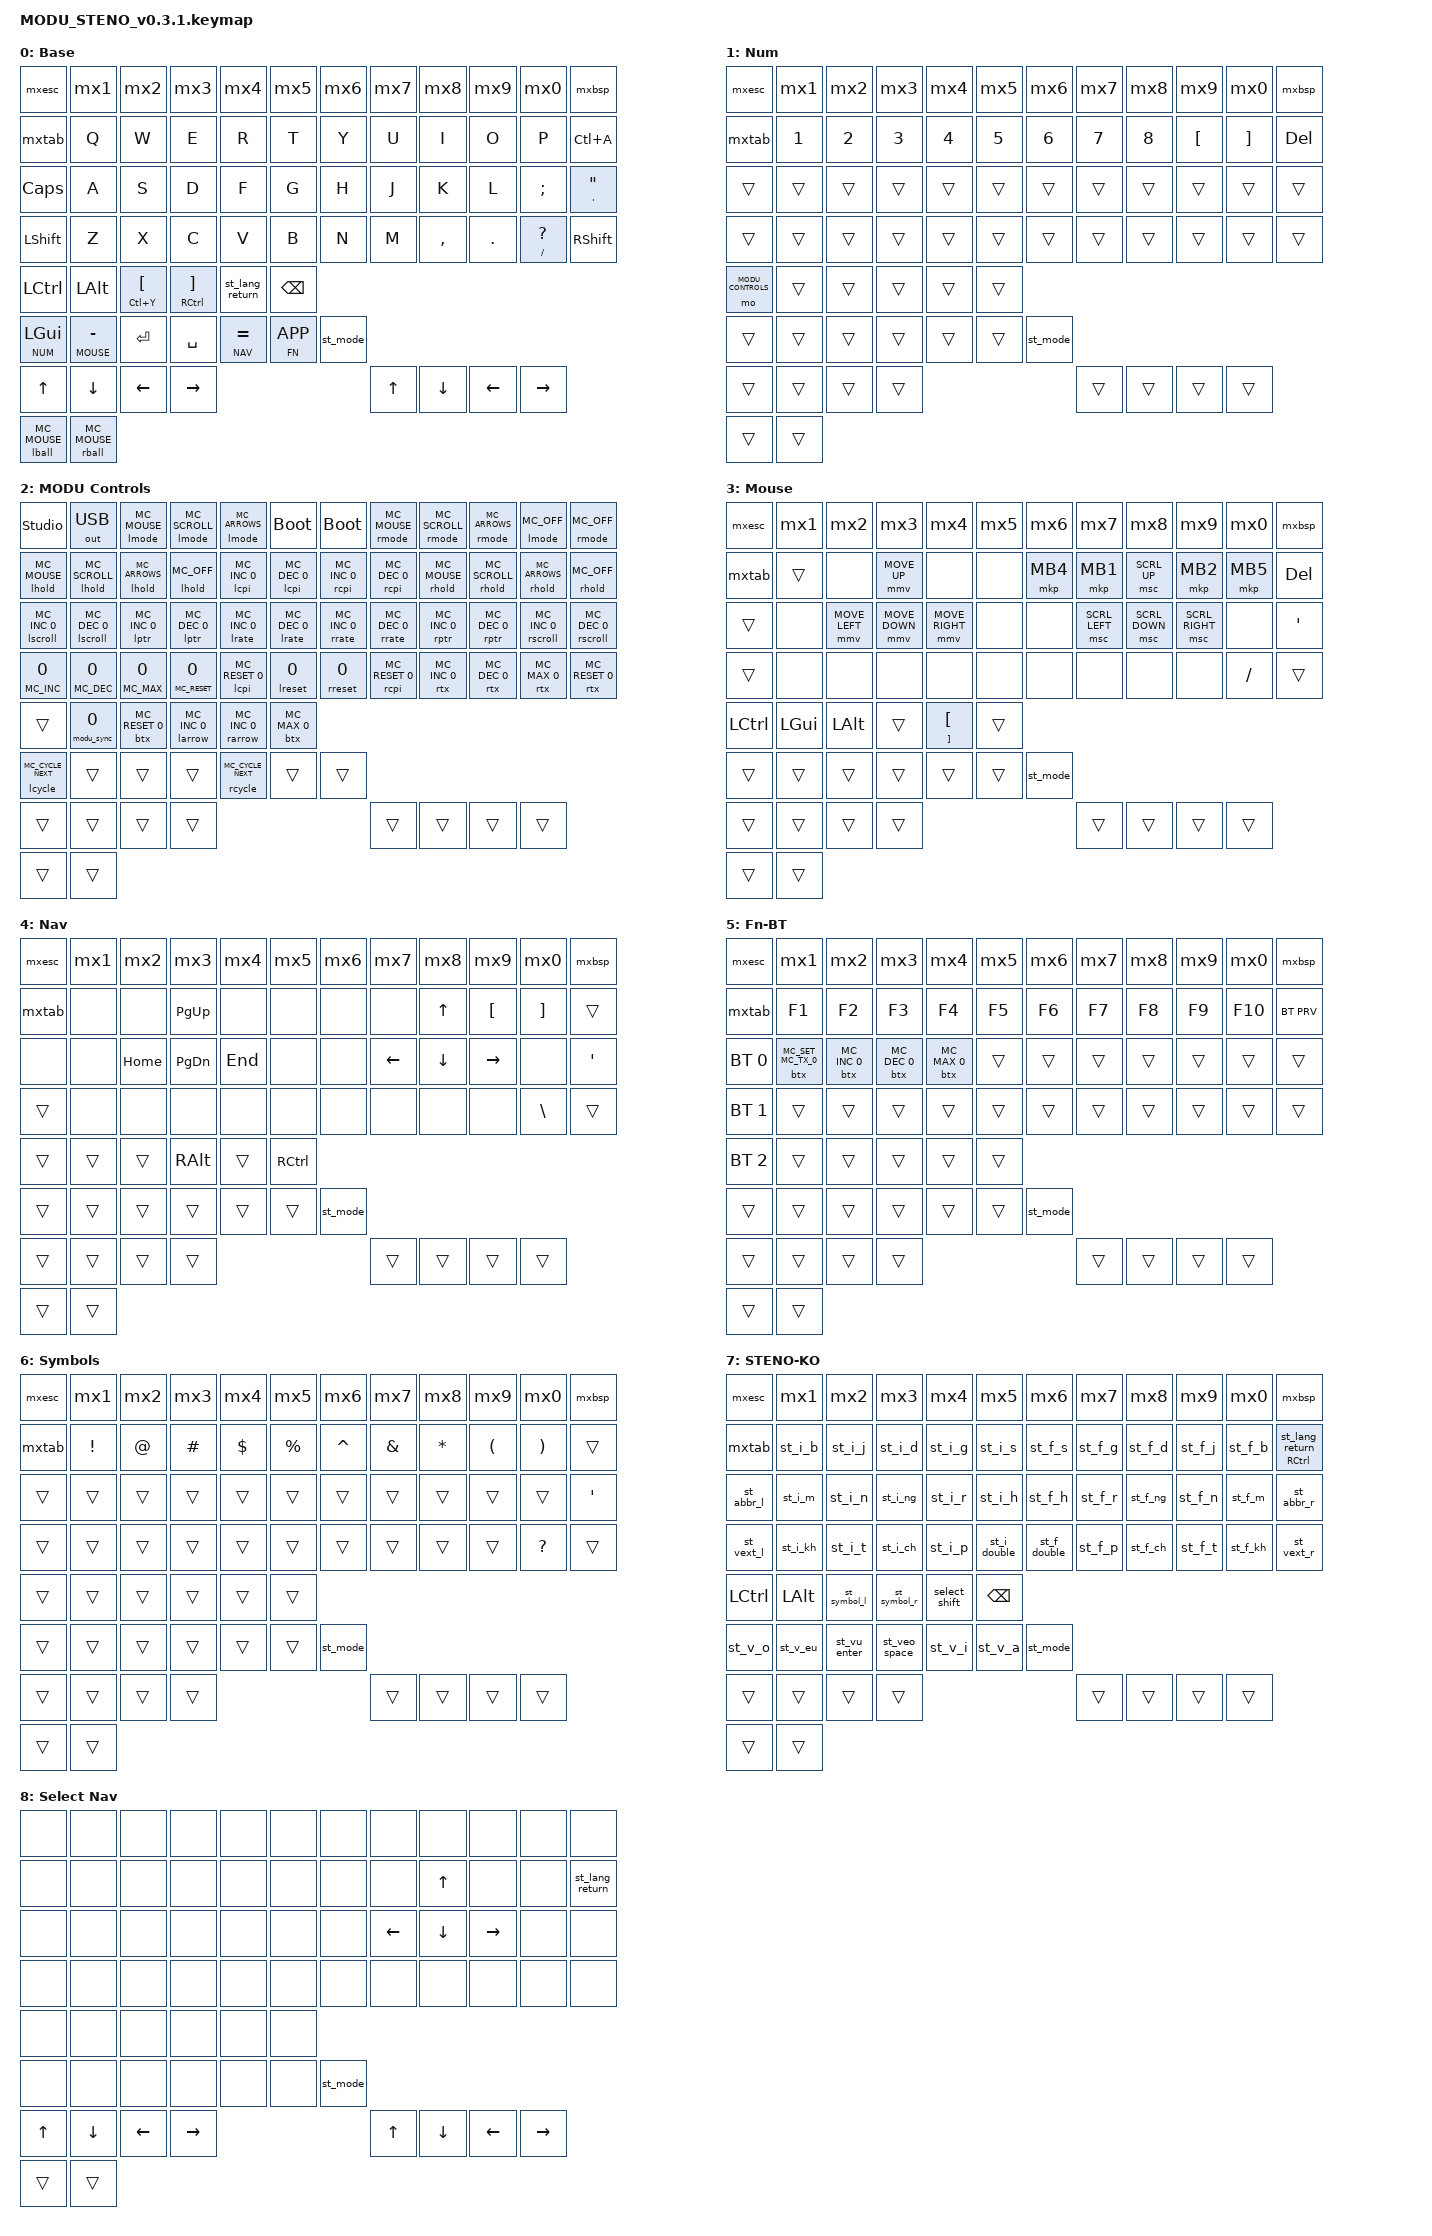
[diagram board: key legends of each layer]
/* SPDX-License-Identifier: LicenseRef-EKS-NonCommercial-1.0
 * MODIFIED v0.3.0: user's Cornix v2.2.6 STENO and Base mapping on MODU Compact71.
 * Board, scan, split and trackball hardware remain in the pinned MODU modules.
 */
#include <behaviors.dtsi>
#include <dt-bindings/zmk/bt.h>
#include <dt-bindings/zmk/keys.h>
#include <dt-bindings/zmk/pointing.h>
#include <dt-bindings/zmk/outputs.h>
#include <dt-bindings/zmk/cornix_steno.h>
#include "modu-controls.dtsi"
#include "generated/modu-hardware.dtsi"
#define BASE 0
#define NUM 1
#define MODU_CONTROLS 2
#define MOUSE 3
#define NAV 4
#define FN 5
#define SYMBOL 6
#define STENO 7
#define SELECT_NAV 8
#include "modu-steno.dtsi"
#include "modu-steno-aux.dtsi"

/ {
    behaviors {
        /*
         * QMK/Vial layer-tap approximation:
         * - Tapping Term: 250 ms
         * - Flow Tap: 120 ms (require-prior-idle-ms)
         * - balanced flavor keeps quick layer chords usable.
         *
         * Vial's Chordal Hold cannot be copied bit-for-bit without a
         * hand/position policy, so this is the closest safe general behavior.
         */
        lt250: layer_tap_250 {
            compatible = "zmk,behavior-hold-tap";
            #binding-cells = <2>;
            bindings = <&mo>, <&kp>;
            flavor = "balanced";
            tapping-term-ms = <250>;
            require-prior-idle-ms = <120>;
            display-name = "Layer-Tap 250ms";
        };

        /* Vial tap-dance entries used by this keymap: tap key / hold key. */
        ht300: hold_tap_300 {
            compatible = "zmk,behavior-hold-tap";
            #binding-cells = <2>;
            bindings = <&kp>, <&kp>;
            flavor = "tap-preferred";
            tapping-term-ms = <300>;
            display-name = "Tap-Hold 300ms";
        };

        ht200: hold_tap_200 {
            compatible = "zmk,behavior-hold-tap";
            #binding-cells = <2>;
            bindings = <&kp>, <&kp>;
            flavor = "tap-preferred";
            tapping-term-ms = <200>;
            display-name = "Tap-Hold 200ms";
        };

        ht150: hold_tap_150 {
            compatible = "zmk,behavior-hold-tap";
            #binding-cells = <2>;
            bindings = <&kp>, <&kp>;
            flavor = "tap-preferred";
            tapping-term-ms = <150>;
            display-name = "Tap-Hold 150ms";
        };


        lang_ht: lang_ht {
            compatible = "zmk,behavior-hold-tap";
            #binding-cells = <2>;
            bindings = <&kp>, <&st_lang_return>;
            flavor = "tap-preferred";
            tapping-term-ms = <150>;
            display-name = "Hangul tap / RCtrl hold";
        };

    };
    macros {
        /*
         * Cornix STENO selection key: hold real RShift and temporarily
         * replace physical J/L/K/I with Left/Right/Down/Up.
         */
        select_shift: select_shift {
            compatible = "zmk,behavior-macro";
            #binding-cells = <0>;
            wait-ms = <0>;
            tap-ms = <0>;
            bindings
                = <&macro_press &mo SELECT_NAV &kp RSHIFT>
                , <&macro_pause_for_release>
                , <&macro_release &mo SELECT_NAV &kp RSHIFT>
                ;
        };


        /* BEGIN CORNIX QUICK MACROS (generated from config/steno_quick_text.tsv) */
        /*
         * Standard ZMK macros visible in the Keymap Editor Macros panel.
         * Fixed STENO input masks are dispatched to stable M0..M11 nodes.
         * Edit the bindings in the GUI, or edit steno_quick_text.tsv and rerun
         * tools/update_quick_macro_text.py.
         */
        /* M0: 약어L+ㅡ -> 사구구 */
        quick_0: quick_0 {
            compatible = "zmk,behavior-macro";
            #binding-cells = <0>;
            display-name = "M0 Quick L+EU";
            wait-ms = <40>;
            tap-ms = <40>;
            bindings = <&kp T &kp K &kp R &kp N &kp R &kp N>;
        };

        /* M1: 약어L+ㅗ -> 구서룡 */
        quick_1: quick_1 {
            compatible = "zmk,behavior-macro";
            #binding-cells = <0>;
            display-name = "M1 Quick L+O";
            wait-ms = <40>;
            tap-ms = <40>;
            bindings = <&kp R &kp N &kp T &kp J &kp F &kp Y &kp D>;
        };

        /* M2: 약어L+ㅜ -> 피피쿵 */
        quick_2: quick_2 {
            compatible = "zmk,behavior-macro";
            #binding-cells = <0>;
            display-name = "M2 Quick L+U";
            wait-ms = <40>;
            tap-ms = <40>;
            bindings = <&kp V &kp L &kp V &kp L &kp Z &kp N &kp D>;
        };

        /* M3: 약어R+ㅏ -> 스타라이트 */
        quick_3: quick_3 {
            compatible = "zmk,behavior-macro";
            #binding-cells = <0>;
            display-name = "M3 Quick R+A";
            wait-ms = <40>;
            tap-ms = <40>;
            bindings = <&kp T &kp M &kp X &kp K &kp F &kp K &kp D &kp L &kp X &kp M>;
        };

        /* M4: 약어R+ㅣ -> 유안나 */
        quick_4: quick_4 {
            compatible = "zmk,behavior-macro";
            #binding-cells = <0>;
            display-name = "M4 Quick R+I";
            wait-ms = <40>;
            tap-ms = <40>;
            bindings = <&kp D &kp B &kp D &kp K &kp S &kp S &kp K>;
        };

        /* M5: 약어R+ㅓ -> 유혜나 */
        quick_5: quick_5 {
            compatible = "zmk,behavior-macro";
            #binding-cells = <0>;
            display-name = "M5 Quick R+EO";
            wait-ms = <40>;
            tap-ms = <40>;
            bindings = <&kp D &kp B &kp G &kp LS(P) &kp S &kp K>;
        };

        /* M6: 약어L+ㅏ -> 실험체 */
        quick_6: quick_6 {
            compatible = "zmk,behavior-macro";
            #binding-cells = <0>;
            display-name = "M6 Quick L+A";
            wait-ms = <40>;
            tap-ms = <40>;
            bindings = <&kp T &kp L &kp F &kp G &kp J &kp A &kp C &kp P>;
        };

        /* M7: 약어L+ㅓ -> A 시 */
        quick_7: quick_7 {
            compatible = "zmk,behavior-macro";
            #binding-cells = <0>;
            display-name = "M7 Quick L+EO";
            wait-ms = <80>;
            tap-ms = <40>;
            bindings = <&kp RALT &kp LS(A) &kp SPACE &kp RALT &kp T &kp L>;
        };

        /* M8: 약어L+ㅣ -> W 시 */
        quick_8: quick_8 {
            compatible = "zmk,behavior-macro";
            #binding-cells = <0>;
            display-name = "M8 Quick L+I";
            wait-ms = <80>;
            tap-ms = <40>;
            bindings = <&kp RALT &kp LS(W) &kp SPACE &kp RALT &kp T &kp L>;
        };

        /* M9: 약어R+ㅗ -> 케이지 */
        quick_9: quick_9 {
            compatible = "zmk,behavior-macro";
            #binding-cells = <0>;
            display-name = "M9 Quick R+O";
            wait-ms = <40>;
            tap-ms = <40>;
            bindings = <&kp Z &kp P &kp D &kp L &kp W &kp L>;
        };

        /* M10: 약어R+ㅜ -> 일렉트리스 */
        quick_10: quick_10 {
            compatible = "zmk,behavior-macro";
            #binding-cells = <0>;
            display-name = "M10 Quick R+U";
            wait-ms = <40>;
            tap-ms = <40>;
            bindings = <&kp D &kp L &kp F &kp F &kp P &kp R &kp X &kp M &kp F &kp L &kp T &kp M>;
        };

        /* M11: 약어R+ㅡ -> 마이스터 */
        quick_11: quick_11 {
            compatible = "zmk,behavior-macro";
            #binding-cells = <0>;
            display-name = "M11 Quick R+EU";
            wait-ms = <40>;
            tap-ms = <40>;
            bindings = <&kp A &kp K &kp D &kp L &kp T &kp M &kp X &kp J>;
        };
        /* END CORNIX QUICK MACROS */
    
    };
    combos {
        compatible = "zmk,combos";

        combo_grave {
            timeout-ms = <50>;
            key-positions = <12 24>;
            bindings = <&kp GRAVE>;
            layers = <BASE>;
        };
        combo_num_1 {
            timeout-ms = <50>;
            key-positions = <13 25>;
            bindings = <&kp N1>;
            layers = <BASE>;
        };
        combo_num_2 {
            timeout-ms = <50>;
            key-positions = <14 26>;
            bindings = <&kp N2>;
            layers = <BASE>;
        };
        combo_num_3 {
            timeout-ms = <50>;
            key-positions = <15 27>;
            bindings = <&kp N3>;
            layers = <BASE>;
        };
        combo_num_4 {
            timeout-ms = <50>;
            key-positions = <16 28>;
            bindings = <&kp N4>;
            layers = <BASE>;
        };
        combo_num_5 {
            timeout-ms = <50>;
            key-positions = <17 29>;
            bindings = <&kp N5>;
            layers = <BASE>;
        };
        combo_num_6 {
            timeout-ms = <50>;
            key-positions = <18 30>;
            bindings = <&kp N6>;
            layers = <BASE>;
        };
        combo_num_7 {
            timeout-ms = <50>;
            key-positions = <19 31>;
            bindings = <&kp N7>;
            layers = <BASE>;
        };
        combo_num_8 {
            timeout-ms = <50>;
            key-positions = <20 32>;
            bindings = <&kp N8>;
            layers = <BASE>;
        };
        combo_num_9 {
            timeout-ms = <50>;
            key-positions = <21 33>;
            bindings = <&kp N9>;
            layers = <BASE>;
        };
        combo_num_0 {
            timeout-ms = <50>;
            key-positions = <22 34>;
            bindings = <&kp N0>;
            layers = <BASE>;
        };

        /* J+K and D+F momentarily open the Symbols layer. */
        combo_symbol_jk {
            timeout-ms = <50>;
            key-positions = <31 32>;
            bindings = <&mo SYMBOL>;
            layers = <BASE NUM FN>;
            slow-release;
        };
        combo_symbol_df {
            timeout-ms = <50>;
            key-positions = <27 28>;
            bindings = <&mo SYMBOL>;
            layers = <BASE NUM FN>;
            slow-release;
        };
    
        modu_reset { bindings = <&sys_reset>; key-positions = <48 5 6>; layers = <NUM>; };

    };
    keymap {
        compatible = "zmk,keymap";
        default_layer {
            display-name = "Base";
            bindings = <
                &mxesc &mx1 &mx2 &mx3 &mx4 &mx5 &mx6 &mx7 &mx8 &mx9 &mx0 &mxbsp
                &mxtab &kp Q &kp W &kp E &kp R &kp T &kp Y &kp U &kp I &kp O &kp P &kp LC(A)
                &kp CAPSLOCK &kp A &kp S &kp D &kp F &kp G &kp H &kp J &kp K &kp L &kp SEMI &ht300 SQT DQT
                &kp LSHIFT &kp Z &kp X &kp C &kp V &kp B &kp N &kp M &kp COMMA &kp DOT &ht200 FSLH QUESTION &kp RSHIFT
                &kp LCTRL &kp LALT &ht200 LC(Y) LBKT &ht200 RCTRL RBKT &st_lang_return &kp BSPC
                &lt250 NUM LGUI &lt250 MOUSE MINUS &kp ENTER &kp SPACE &lt250 NAV EQUAL &lt250 FN K_APP &st_mode
                &kp UP &kp DOWN &kp LEFT &kp RIGHT &kp UP &kp DOWN &kp LEFT &kp RIGHT
                &lball MC_MOUSE &rball MC_MOUSE
            >;
        };
        lower_layer {
            display-name = "Num";
            bindings = <
                &mxesc &mx1 &mx2 &mx3 &mx4 &mx5 &mx6 &mx7 &mx8 &mx9 &mx0 &mxbsp
                &mxtab &kp N1 &kp N2 &kp N3 &kp N4 &kp N5 &kp N6 &kp N7 &kp N8 &kp LBKT &kp RBKT &kp DEL
                &trans &trans &trans &trans &trans &trans &trans &trans &trans &trans &trans &trans
                &trans &trans &trans &trans &trans &trans &trans &trans &trans &trans &trans &trans
                &mo MODU_CONTROLS &trans &trans &trans &trans &trans
                &trans &trans &trans &trans &trans &trans &st_mode
                &trans &trans &trans &trans &trans &trans &trans &trans
                &trans &trans
            >;
        };
        layer_2 {
            display-name = "MODU Controls";
            bindings = <
                &studio_unlock &out OUT_USB &lmode MC_MOUSE &lmode MC_SCROLL &lmode MC_ARROWS &bootloader &bootloader &rmode MC_MOUSE &rmode MC_SCROLL &rmode MC_ARROWS &lmode MC_OFF &rmode MC_OFF
                &lhold MC_MOUSE &lhold MC_SCROLL &lhold MC_ARROWS &lhold MC_OFF &lcpi MC_INC 0 &lcpi MC_DEC 0 &rcpi MC_INC 0 &rcpi MC_DEC 0 &rhold MC_MOUSE &rhold MC_SCROLL &rhold MC_ARROWS &rhold MC_OFF
                &lscroll MC_INC 0 &lscroll MC_DEC 0 &lptr MC_INC 0 &lptr MC_DEC 0 &lrate MC_INC 0 &lrate MC_DEC 0 &rrate MC_INC 0 &rrate MC_DEC 0 &rptr MC_INC 0 &rptr MC_DEC 0 &rscroll MC_INC 0 &rscroll MC_DEC 0
                &ltx MC_INC 0 &ltx MC_DEC 0 &ltx MC_MAX 0 &ltx MC_RESET 0 &lcpi MC_RESET 0 &lreset 0 &rreset 0 &rcpi MC_RESET 0 &rtx MC_INC 0 &rtx MC_DEC 0 &rtx MC_MAX 0 &rtx MC_RESET 0
                &trans &modu_sync 0 &btx MC_RESET 0 &larrow MC_INC 0 &rarrow MC_INC 0 &btx MC_MAX 0
                &lcycle MC_CYCLE_NEXT &trans &trans &trans &rcycle MC_CYCLE_NEXT &trans &trans
                &trans &trans &trans &trans &trans &trans &trans &trans
                &trans &trans
            >;
        };
        mouse_layer {
            display-name = "Mouse";
            bindings = <
                &mxesc &mx1 &mx2 &mx3 &mx4 &mx5 &mx6 &mx7 &mx8 &mx9 &mx0 &mxbsp
                &mxtab &trans &none &mmv MOVE_UP &none &none &mkp MB4 &mkp MB1 &msc SCRL_UP &mkp MB2 &mkp MB5 &kp DEL
                &trans &none &mmv MOVE_LEFT &mmv MOVE_DOWN &mmv MOVE_RIGHT &none &none &msc SCRL_LEFT &msc SCRL_DOWN &msc SCRL_RIGHT &none &kp SQT
                &trans &none &none &none &none &none &none &none &none &none &kp FSLH &trans
                &kp LCTRL &kp LGUI &kp LALT &trans &ht150 RBKT LBKT &trans
                &trans &trans &trans &trans &trans &trans &st_mode
                &trans &trans &trans &trans &trans &trans &trans &trans
                &trans &trans
            >;
        };
        nav_layer {
            display-name = "Nav";
            bindings = <
                &mxesc &mx1 &mx2 &mx3 &mx4 &mx5 &mx6 &mx7 &mx8 &mx9 &mx0 &mxbsp
                &mxtab &none &none &kp PG_UP &none &none &none &none &kp UP &kp LBKT &kp RBKT &trans
                &none &none &kp HOME &kp PG_DN &kp END &none &none &kp LEFT &kp DOWN &kp RIGHT &none &kp SQT
                &trans &none &none &none &none &none &none &none &none &none &kp BSLH &trans
                &trans &trans &trans &kp RALT &trans &kp RCTRL
                &trans &trans &trans &trans &trans &trans &st_mode
                &trans &trans &trans &trans &trans &trans &trans &trans
                &trans &trans
            >;
        };
        fn_layer {
            display-name = "Fn-BT";
            bindings = <
                &mxesc &mx1 &mx2 &mx3 &mx4 &mx5 &mx6 &mx7 &mx8 &mx9 &mx0 &mxbsp
                &mxtab &kp F1 &kp F2 &kp F3 &kp F4 &kp F5 &kp F6 &kp F7 &kp F8 &kp F9 &kp F10 &bt BT_PRV
                &bt BT_SEL 0 &btx MC_SET MC_TX_0 &btx MC_INC 0 &btx MC_DEC 0 &btx MC_MAX 0 &trans &trans &trans &trans &trans &trans &trans
                &bt BT_SEL 1 &trans &trans &trans &trans &trans &trans &trans &trans &trans &trans &trans
                &bt BT_SEL 2 &trans &trans &trans &trans &trans
                &trans &trans &trans &trans &trans &trans &st_mode
                &trans &trans &trans &trans &trans &trans &trans &trans
                &trans &trans
            >;
        };
        symbol_layer {
            display-name = "Symbols";
            bindings = <
                &mxesc &mx1 &mx2 &mx3 &mx4 &mx5 &mx6 &mx7 &mx8 &mx9 &mx0 &mxbsp
                &mxtab &kp EXCL &kp AT &kp HASH &kp DLLR &kp PRCNT &kp CARET &kp AMPS &kp ASTERISK &kp LPAR &kp RPAR &trans
                &trans &trans &trans &trans &trans &trans &trans &trans &trans &trans &trans &kp SQT
                &trans &trans &trans &trans &trans &trans &trans &trans &trans &trans &kp QUESTION &trans
                &trans &trans &trans &trans &trans &trans
                &trans &trans &trans &trans &trans &trans &st_mode
                &trans &trans &trans &trans &trans &trans &trans &trans
                &trans &trans
            >;
        };
        steno_layer {
            display-name = "STENO-KO";
            bindings = <
                &mxesc &mx1 &mx2 &mx3 &mx4 &mx5 &mx6 &mx7 &mx8 &mx9 &mx0 &mxbsp
                &mxtab &st_i_b &st_i_j &st_i_d &st_i_g &st_i_s &st_f_s &st_f_g &st_f_d &st_f_j &st_f_b &lang_ht RCTRL 0
                &st_abbr_l &st_i_m &st_i_n &st_i_ng &st_i_r &st_i_h &st_f_h &st_f_r &st_f_ng &st_f_n &st_f_m &st_abbr_r
                &st_vext_l &st_i_kh &st_i_t &st_i_ch &st_i_p &st_i_double &st_f_double &st_f_p &st_f_ch &st_f_t &st_f_kh &st_vext_r
                &kp LCTRL &kp LALT &st_symbol_l &st_symbol_r &select_shift &kp BSPC
                &st_v_o &st_v_eu &st_vu_enter &st_veo_space &st_v_i &st_v_a &st_mode
                &trans &trans &trans &trans &trans &trans &trans &trans
                &trans &trans
            >;
        };
        select_nav_layer {
            display-name = "Select Nav";
            bindings = <
                &none &none &none &none &none &none &none &none &none &none &none &none
                &none &none &none &none &none &none &none &none &kp UP &none &none &st_lang_return
                &none &none &none &none &none &none &none &kp LEFT &kp DOWN &kp RIGHT &none &none
                &none &none &none &none &none &none &none &none &none &none &none &none
                &none &none &none &none &none &none
                &none &none &none &none &none &none &st_mode
                &kp UP &kp DOWN &kp LEFT &kp RIGHT &kp UP &kp DOWN &kp LEFT &kp RIGHT
                &trans &trans
            >;
        };
    };
};
#include "local-custom.dtsi"
